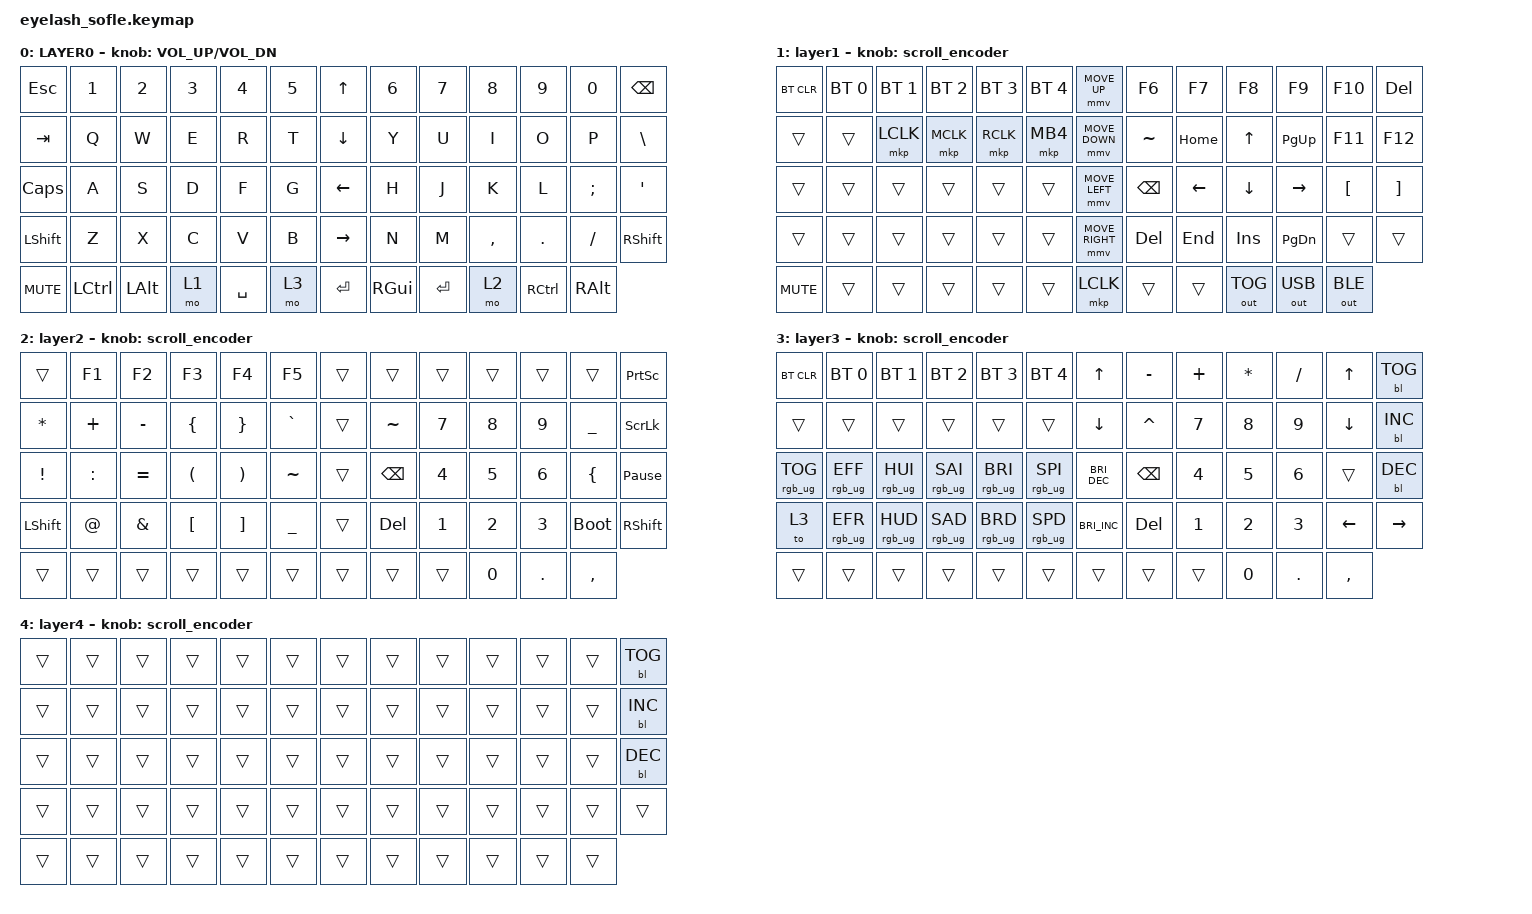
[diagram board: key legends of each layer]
#define ZMK_POINTING_DEFAULT_MOVE_VAL 1200  // 600
#define ZMK_POINTING_DEFAULT_SCRL_VAL 25   // 10

#include <input/processors.dtsi>
#include <zephyr/dt-bindings/input/input-event-codes.h>
#include <behaviors.dtsi>
#include <dt-bindings/zmk/backlight.h>
#include <dt-bindings/zmk/bt.h>
#include <dt-bindings/zmk/keys.h>
#include <dt-bindings/zmk/outputs.h>
#include <dt-bindings/zmk/pointing.h>
#include <dt-bindings/zmk/rgb.h>

&mmv_input_listener { input-processors = <&zip_xy_scaler 2 1>; };

&msc_input_listener { input-processors = <&zip_scroll_scaler 2 1>; };

&msc {
    acceleration-exponent = <1>;      // 0
    time-to-max-speed-ms = <100>;       // 300
    delay-ms = <0>;                   // 0
};

&mmv {
    time-to-max-speed-ms = <500>;
    acceleration-exponent = <1>;
    trigger-period-ms = <16>;
};

&soft_off { hold-time-ms = <2000>; };

/ {
    scroll_encoder: scroll_encoder {
        compatible = "zmk,behavior-sensor-rotate";
        #sensor-binding-cells = <0>;
        bindings = <&msc SCRL_DOWN>, <&msc SCRL_UP>;

        tap-ms = <100>;
    };

    behaviors {
    };

    combos {
        compatible = "zmk,combos";

        softoff {
            bindings = <&soft_off>;
            key-positions = <14 28 40>;
        };
    };

    keymap {
        compatible = "zmk,keymap";

        layer0 {
            bindings = <
&kp ESC     &kp N1     &kp N2        &kp N3  &kp N4     &kp N5    &kp UP_ARROW     &kp N6         &kp N7     &kp N8     &kp N9     &kp N0         &kp BACKSPACE
&kp TAB     &kp Q      &kp W         &kp E   &kp R      &kp T     &kp DOWN_ARROW   &kp Y          &kp U      &kp I      &kp O      &kp P          &kp BSLH
&kp CAPS    &kp A      &kp S         &kp D   &kp F      &kp G     &kp LEFT_ARROW   &kp H          &kp J      &kp K      &kp L      &kp SEMI       &kp APOS
&kp LSHFT   &kp Z      &kp X         &kp C   &kp V      &kp B     &kp RIGHT_ARROW  &kp N          &kp M      &kp COMMA  &kp DOT    &kp FSLH       &kp RIGHT_SHIFT
&kp C_MUTE  &kp LCTRL  &kp LEFT_ALT  &mo 1   &kp SPACE  &mo 3     &kp ENTER        &kp RIGHT_GUI  &kp ENTER  &mo 2      &kp RCTRL  &kp RIGHT_ALT
            >;

            sensor-bindings = <&inc_dec_kp C_VOLUME_UP C_VOL_DN>;
            display-name = "LAYER0";
        };

        layer_1 {
            bindings = <
&bt BT_CLR  &bt BT_SEL 0  &bt BT_SEL 1  &bt BT_SEL 2  &bt BT_SEL 3  &bt BT_SEL 4    &mmv MOVE_UP     &kp F6         &kp F7    &kp F8        &kp F9        &kp F10           &kp DEL
&trans      &trans        &mkp LCLK     &mkp MCLK     &mkp RCLK     &mkp MB4        &mmv MOVE_DOWN   &kp TILDE      &kp HOME  &kp UP        &kp PG_UP     &kp F11           &kp F12
&trans      &trans        &trans        &trans        &trans        &trans          &mmv MOVE_LEFT   &kp BACKSPACE  &kp LEFT  &kp DOWN      &kp RIGHT     &kp LEFT_BRACKET  &kp RIGHT_BRACKET
&trans      &trans        &trans        &trans        &trans        &trans          &mmv MOVE_RIGHT  &kp DELETE     &kp END   &kp INS       &kp PG_DN     &trans            &trans
&kp C_MUTE  &trans        &trans        &trans        &trans        &trans          &mkp LCLK        &trans         &trans    &out OUT_TOG  &out OUT_USB  &out OUT_BLE
            >;

            display-name = "layer1";
            sensor-bindings = <&scroll_encoder>;
        };

        layer_2 {
            bindings = <
&trans           &kp F1       &kp F2         &kp F3                &kp F4                 &kp F5       &trans  &trans         &trans  &trans  &trans      &trans       &kp PRINTSCREEN
&kp ASTERISK     &kp PLUS     &kp MINUS      &kp LEFT_BRACE        &kp RIGHT_BRACE        &kp GRAVE    &trans  &kp TILDE      &kp N7  &kp N8  &kp N9      &kp UNDER    &kp SCROLLLOCK
&kp EXCLAMATION  &kp COLON    &kp EQUAL      &kp LEFT_PARENTHESIS  &kp RIGHT_PARENTHESIS  &kp TILDE    &trans  &kp BACKSPACE  &kp N4  &kp N5  &kp N6      &kp LBRC     &kp PAUSE_BREAK
&kp LEFT_SHIFT   &kp AT_SIGN  &kp AMPERSAND  &kp LEFT_BRACKET      &kp RIGHT_BRACKET      &kp UNDER    &trans  &kp DELETE     &kp N1  &kp N2  &kp N3      &bootloader  &kp RIGHT_SHIFT
&trans           &trans       &trans         &trans                &trans                 &trans       &trans  &trans         &trans  &kp N0  &kp PERIOD  &kp COMMA
            >;

            display-name = "layer2";
            sensor-bindings = <&scroll_encoder>;
        };

        layer_3 {
            bindings = <
&bt BT_CLR       &bt BT_SEL 0     &bt BT_SEL 1     &bt BT_SEL 2     &bt BT_SEL 3     &bt BT_SEL 4       &kp UP_ARROW          &kp MINUS      &kp PLUS      &kp ASTERISK  &kp SLASH     &kp UP          &bl BL_TOG
&trans           &trans           &trans           &trans           &trans           &trans             &kp DOWN_ARROW        &kp CARET      &kp N7        &kp N8        &kp N9        &kp DOWN_ARROW  &bl BL_INC
&rgb_ug RGB_TOG  &rgb_ug RGB_EFF  &rgb_ug RGB_HUI  &rgb_ug RGB_SAI  &rgb_ug RGB_BRI  &rgb_ug RGB_SPI    &kp C_BRIGHTNESS_DEC  &kp BACKSPACE  &kp NUMBER_4  &kp N5        &kp NUMBER_6  &trans          &bl BL_DEC
&to 3            &rgb_ug RGB_EFR  &rgb_ug RGB_HUD  &rgb_ug RGB_SAD  &rgb_ug RGB_BRD  &rgb_ug RGB_SPD    &kp C_BRIGHTNESS_INC  &kp DELETE     &kp NUMBER_1  &kp NUMBER_2  &kp NUMBER_3  &kp LEFT_ARROW  &kp RIGHT_ARROW
&trans           &trans           &trans           &trans           &trans           &trans             &trans                &trans         &trans        &kp N0        &kp PERIOD    &kp COMMA
            >;

            display-name = "layer3";
            sensor-bindings = <&scroll_encoder>;
        };

        layer_4 {
            bindings = <
&trans  &trans  &trans  &trans  &trans  &trans    &trans  &trans  &trans  &trans  &trans  &trans  &bl BL_TOG
&trans  &trans  &trans  &trans  &trans  &trans    &trans  &trans  &trans  &trans  &trans  &trans  &bl BL_INC
&trans  &trans  &trans  &trans  &trans  &trans    &trans  &trans  &trans  &trans  &trans  &trans  &bl BL_DEC
&trans  &trans  &trans  &trans  &trans  &trans    &trans  &trans  &trans  &trans  &trans  &trans  &trans
&trans  &trans  &trans  &trans  &trans  &trans    &trans  &trans  &trans  &trans  &trans  &trans
            >;

            display-name = "layer4";
            sensor-bindings = <&scroll_encoder>;
        };
    };
};
